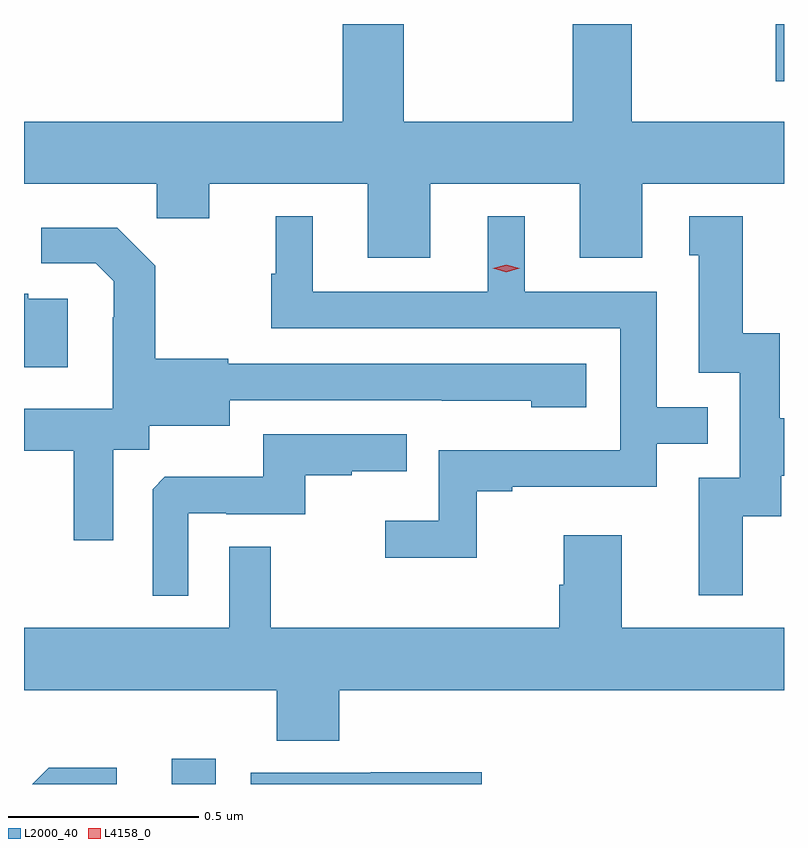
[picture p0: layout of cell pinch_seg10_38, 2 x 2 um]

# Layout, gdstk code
import gdstk
lib = gdstk.Library(unit=1e-6, precision=1e-09)
def R(c, l, rs):  # rectangles x0, y0, x1, y1
    for r in rs: c.add(gdstk.rectangle(r[:2], r[2:], *l))
def P(c, l, *ps):  # polygons
    for p in ps: c.add(gdstk.Polygon(p, *l))
L2000_40 = (2000, 40)
L4158_0 = (4158, 0)

pinch_seg10_38 = lib.new_cell('pinch_seg10_38')
R(pinch_seg10_38, L2000_40, [(902.177,1280.089,902.292,1280.155), (903.766,1281.939,903.788,1282.089)])
P(pinch_seg10_38, L2000_40, [(902.857,1281.668),(903.251,1281.668),(903.251,1281.474),(903.415,1281.474),(903.415,1281.668),(903.788,1281.668),(903.788,1281.832),(903.387,1281.832),(903.387,1282.089),(903.232,1282.089),(903.232,1281.832),(902.787,1281.832),(902.787,1282.089),(902.627,1282.089),(902.627,1281.832),(901.788,1281.832),(901.788,1281.668),(902.137,1281.668),(902.137,1281.578),(902.275,1281.578),(902.275,1281.668),(902.693,1281.668),(902.693,1281.474),(902.857,1281.474)],
  [(902.979,1280.859),(903.073,1280.859),(903.073,1280.871),(903.453,1280.871),(903.453,1280.985),(903.587,1280.985),(903.587,1281.081),(903.453,1281.081),(903.453,1281.384),(903.106,1281.384),(903.106,1281.583),(903.008,1281.583),(903.008,1281.384),(902.548,1281.384),(902.548,1281.583),(902.45,1281.583),(902.45,1281.432),(902.439,1281.432),(902.439,1281.288),(903.357,1281.288),(903.357,1280.967),(902.88,1280.967),(902.88,1280.782),(902.739,1280.782),(902.739,1280.684),(902.979,1280.684)],
  [(903.679,1280.794),(903.781,1280.794),(903.781,1280.9),(903.788,1280.9),(903.788,1281.052),(903.777,1281.052),(903.777,1281.275),(903.679,1281.275),(903.679,1281.583),(903.539,1281.583),(903.539,1281.48),(903.563,1281.48),(903.563,1281.171),(903.672,1281.171),(903.672,1280.895),(903.563,1280.895),(903.563,1280.586),(903.679,1280.586)],
  [(902.023,1280.968),(902.118,1280.968),(902.118,1281.032),(902.329,1281.032),(902.329,1281.099),(902.887,1281.099),(902.887,1281.098),(903.123,1281.098),(903.123,1281.08),(903.268,1281.08),(903.268,1281.195),(902.325,1281.195),(902.325,1281.208),(902.133,1281.208),(902.133,1281.453),(902.033,1281.553),(901.833,1281.553),(901.833,1281.459),(901.977,1281.459),(902.024,1281.412),(902.024,1281.317),(902.022,1281.317),(902.022,1281.076),(901.788,1281.076),(901.788,1280.966),(901.919,1280.966),(901.919,1280.73),(902.023,1280.73)],
  [(901.903,1281.366),(901.799,1281.366),(901.799,1281.379),(901.788,1281.379),(901.788,1281.186),(901.903,1281.186)],
  [(902.22,1280.802),(902.32,1280.802),(902.32,1280.799),(902.528,1280.799),(902.528,1280.901),(902.651,1280.901),(902.651,1280.912),(902.795,1280.912),(902.795,1281.009),(902.418,1281.009),(902.418,1280.897),(902.159,1280.897),(902.127,1280.865),(902.127,1280.585),(902.22,1280.585)],
  [(902.618,1280.336),(903.788,1280.336),(903.788,1280.5),(903.361,1280.5),(903.361,1280.743),(903.209,1280.743),(903.209,1280.613),(903.197,1280.613),(903.197,1280.5),(902.437,1280.5),(902.437,1280.714),(902.328,1280.714),(902.328,1280.5),(901.788,1280.5),(901.788,1280.336),(902.453,1280.336),(902.453,1280.203),(902.618,1280.203)],
  [(902.032,1280.132),(901.853,1280.132),(901.81,1280.089),(902.032,1280.089)],
  [(902.993,1280.12),(902.701,1280.12),(902.701,1280.118),(902.385,1280.118),(902.385,1280.089),(902.993,1280.089)])
P(pinch_seg10_38, L4158_0, [(903.057,1281.436),(903.021,1281.446),(903.021,1281.446),(903.021,1281.446),(903.057,1281.456),(903.093,1281.446),(903.093,1281.446),(903.093,1281.446)])

lib.write_gds('pinch_seg10_38.gds')
